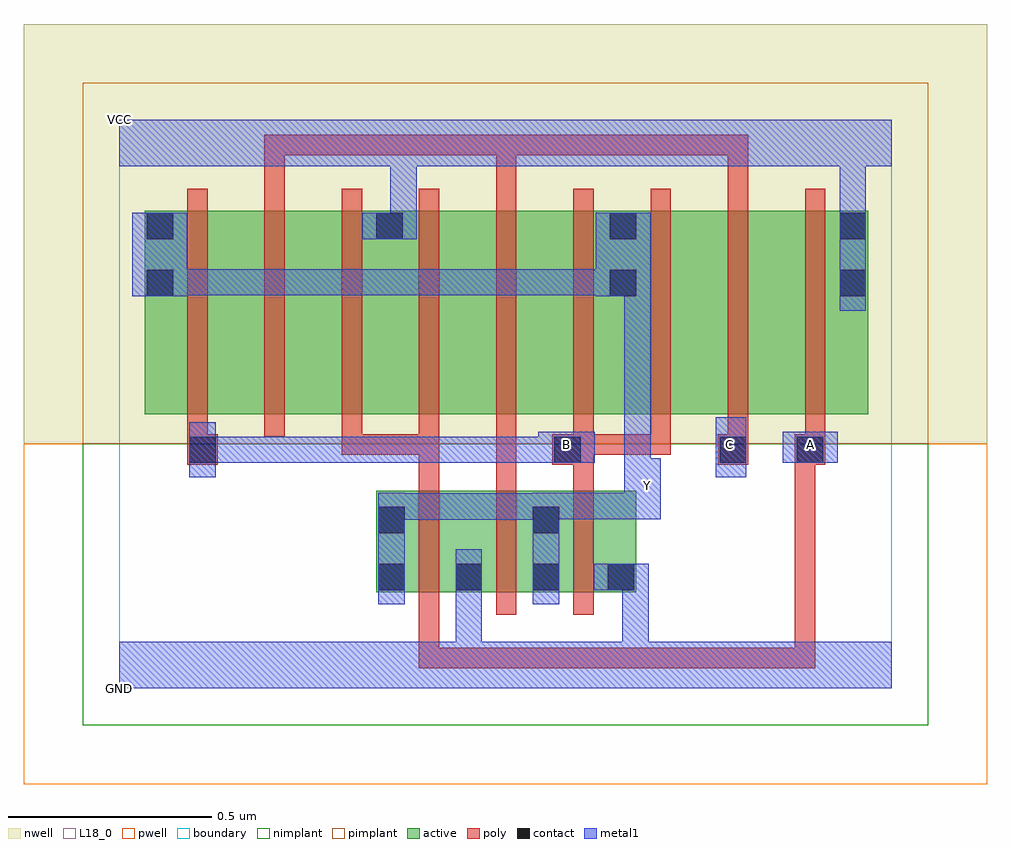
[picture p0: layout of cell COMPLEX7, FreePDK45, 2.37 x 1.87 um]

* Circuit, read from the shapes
.subckt COMPLEX7 A B C GND VCC Y
M1 GND A Y VSUBS nfet w=0.25u l=0.05u
M2 Y C GND VSUBS nfet w=0.25u l=0.05u
M3 GND B Y VSUBS nfet w=0.25u l=0.05u
M4 n1 B Y n2 pfet w=0.5u l=0.05u
M5 n3 C n1 n2 pfet w=0.5u l=0.05u
M6 VCC A n3 n2 pfet w=0.5u l=0.05u
M7 n4 A VCC n2 pfet w=0.5u l=0.05u
M8 n5 C n4 n2 pfet w=0.5u l=0.05u
M9 Y B n5 n2 pfet w=0.5u l=0.05u
M10 n6 B Y n2 pfet w=0.5u l=0.05u
M11 n7 C n6 n2 pfet w=0.5u l=0.05u
M12 VCC A n7 n2 pfet w=0.5u l=0.05u
.ends

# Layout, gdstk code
import gdstk
lib = gdstk.Library(unit=1e-6, precision=1e-09)
def R(c, l, rs):  # rectangles x0, y0, x1, y1
    for r in rs: c.add(gdstk.rectangle(r[:2], r[2:], *l))
def A(c, l, x, y, w, h, nx, ny, dx, dy):  # array of equal rectangles
    R(c, l, [(x+i*dx, y+j*dy, x+i*dx+w, y+j*dy+h) for i in range(nx) for j in range(ny)])
active = (1, 0)
pwell = (2, 0)
nwell = (3, 0)
nimplant = (4, 0)
pimplant = (5, 0)
poly = (9, 0)
contact = (10, 0)
metal1 = (11, 0)
L18_0 = (18, 0)
boundary = (235, 0)

complex7 = lib.new_cell('COMPLEX7')
A(complex7, active, 0.287, 0.675, 0.19, 0.5, 3, 1, 0.57, 0)
R(complex7, active, [(0.632,0.237,0.707,0.487), (0.632,0.237,0.897,0.487), (0.822,0.237,1.087,0.487), (0.822,0.237,0.897,0.387), (1.012,0.237,1.272,0.487), (1.012,0.237,1.087,0.467), (1.197,0.237,1.272,0.487), (0.062,0.675,0.137,1.175), (0.062,0.675,0.287,1.175), (0.477,0.675,0.702,1.175), (0.627,0.675,0.702,1.175), (0.627,0.675,0.857,1.175), (1.047,0.675,1.277,1.175), (1.202,0.675,1.277,1.175), (1.202,0.675,1.427,1.175), (1.617,0.675,1.842,1.175), (1.767,0.675,1.842,1.175)])
R(complex7, pwell, [(-0.235,-0.235,2.135,0.602)])
R(complex7, nwell, [(-0.235,0.602,2.135,1.635)])
R(complex7, nimplant, [(-0.09,-0.09,1.99,0.602)])
R(complex7, pimplant, [(-0.09,0.602,1.99,1.49)])
A(complex7, poly, 0.737, 0.182, 0.05, 0.36, 3, 1, 0.19, 0)
A(complex7, poly, 1.117, 0.575, 0.05, 0.095, 4, 1, 0.19, 0)
A(complex7, poly, 0.167, 0.62, 0.05, 0.61, 9, 1, 0.19, 0)
A(complex7, poly, 0.357, 1.18, 0.05, 0.182, 3, 1, 0.57, 0)
R(complex7, poly, [(0.737,0.05,0.787,0.1), (0.737,0.05,0.787,0.1), (0.737,0.05,0.787,0.1), (0.737,0.05,0.787,0.232), (0.737,0.05,0.92,0.1), (0.87,0.05,0.92,0.1), (0.87,0.05,0.92,0.1), (0.87,0.05,0.92,0.1), (0.87,0.05,1.11,0.1), (1.06,0.05,1.11,0.1), (1.06,0.05,1.11,0.1), (1.06,0.05,1.11,0.1), (1.06,0.05,1.39,0.1), (1.34,0.05,1.39,0.1), (1.34,0.05,1.39,0.1), (1.34,0.05,1.39,0.1), (1.34,0.05,1.522,0.1), (1.472,0.05,1.522,0.1), (1.472,0.05,1.712,0.1), (1.662,0.05,1.712,0.6), (1.662,0.05,1.712,0.1), (1.662,0.05,1.712,0.1), (1.662,0.05,1.712,0.1), (1.662,0.05,1.712,0.1), (1.662,0.05,1.712,0.1), (1.662,0.05,1.712,0.1), (1.662,0.05,1.712,0.1), (0.737,0.492,0.787,0.625), (0.927,0.492,0.977,0.587), (1.117,0.492,1.167,0.6), (0.927,0.537,0.977,0.587), (0.927,0.537,0.977,0.67), (0.167,0.55,0.242,0.625), (1.065,0.55,1.167,0.625), (1.472,0.55,1.547,0.625), (1.662,0.55,1.737,0.625), (0.167,0.575,0.217,0.67), (0.547,0.575,0.597,0.67), (0.547,0.575,0.597,0.625), (0.547,0.575,0.597,0.625), (0.547,0.575,0.597,0.625), (0.547,0.575,0.787,0.625), (0.737,0.575,0.787,0.67), (0.737,0.575,0.787,0.625), (1.117,0.575,1.167,0.625), (1.117,0.575,1.167,0.625), (1.117,0.575,1.357,0.625), (1.307,0.575,1.357,0.625), (0.357,1.312,0.407,1.362), (0.357,1.312,0.407,1.362), (0.357,1.312,0.407,1.362), (0.357,1.312,0.597,1.362), (0.547,1.312,0.597,1.362), (0.547,1.312,0.597,1.362), (0.547,1.312,0.597,1.362), (0.547,1.312,0.73,1.362), (0.68,1.312,0.73,1.362), (0.68,1.312,0.73,1.362), (0.68,1.312,0.73,1.362), (0.68,1.312,0.977,1.362), (0.927,1.312,0.977,1.362), (0.927,1.312,0.977,1.362), (0.927,1.312,0.977,1.362), (0.927,1.312,1.225,1.362), (1.175,1.312,1.225,1.362), (1.175,1.312,1.225,1.362), (1.175,1.312,1.225,1.362), (1.175,1.312,1.39,1.362), (1.34,1.312,1.39,1.362), (1.34,1.312,1.39,1.362), (1.34,1.312,1.39,1.362), (1.34,1.312,1.547,1.362), (1.497,1.312,1.547,1.362)])
A(complex7, contact, 0.637, 0.242, 0.065, 0.065, 3, 1, 0.19, 0)
R(complex7, contact, [(1.202,0.242,1.267,0.307), (0.637,0.382,0.702,0.447), (1.017,0.382,1.082,0.447), (0.172,0.555,0.237,0.62), (1.07,0.555,1.135,0.62), (1.477,0.555,1.542,0.62), (1.667,0.555,1.732,0.62), (0.067,0.965,0.132,1.03), (1.207,0.965,1.272,1.03), (1.772,0.965,1.837,1.03), (0.067,1.105,0.132,1.17), (0.632,1.105,0.697,1.17), (1.207,1.105,1.272,1.17), (1.772,1.105,1.837,1.17)])
R(complex7, metal1, [(0,0,1.9,0.115), (0.827,0.05,0.892,0.115), (0.827,0.05,0.892,0.115), (0.827,0.05,0.892,0.272), (1.237,0.05,1.302,0.307), (0.637,0.207,0.702,0.482), (0.827,0.207,0.892,0.272), (0.827,0.207,0.892,0.272), (0.827,0.207,0.892,0.342), (1.017,0.207,1.082,0.482), (1.167,0.242,1.302,0.307), (1.237,0.242,1.302,0.307), (1.237,0.242,1.302,0.307), (1.237,0.242,1.302,0.307), (1.237,0.242,1.302,0.307), (0.637,0.415,0.702,0.48), (0.637,0.415,0.702,0.48), (0.637,0.415,0.945,0.48), (0.88,0.415,0.945,0.48), (0.88,0.415,0.945,0.48), (0.88,0.415,0.945,0.48), (0.88,0.415,1.082,0.48), (1.017,0.417,1.307,0.482), (1.242,0.417,1.307,0.482), (1.242,0.417,1.307,0.482), (1.242,0.417,1.307,0.482), (1.242,0.417,1.307,0.482), (1.242,0.417,1.332,0.567), (1.242,0.502,1.307,1.03), (0.172,0.52,0.237,0.655), (1.467,0.52,1.542,0.667), (0.172,0.555,0.375,0.62), (0.31,0.555,0.375,0.62), (0.31,0.555,0.375,0.62), (0.31,0.555,0.375,0.62), (0.31,0.555,0.512,0.62), (0.447,0.555,0.512,0.62), (0.447,0.555,0.512,0.62), (0.447,0.555,0.512,0.62), (0.447,0.555,0.662,0.62), (0.597,0.555,0.662,0.62), (0.597,0.555,0.807,0.62), (0.742,0.555,0.807,0.62), (0.742,0.555,0.84,0.62), (0.775,0.555,0.84,0.62), (0.775,0.555,0.957,0.62), (0.892,0.555,0.957,0.62), (0.892,0.555,1.095,0.62), (1.03,0.555,1.095,0.62), (1.03,0.555,1.095,0.62), (1.03,0.555,1.17,0.632), (1.632,0.555,1.767,0.632), (1.772,0.93,1.837,1.205), (0.032,0.965,0.167,1.17), (1.172,0.965,1.307,1.17), (0.102,0.967,0.167,1.032), (0.102,0.967,0.167,1.032), (0.102,0.967,0.375,1.032), (0.31,0.967,0.375,1.032), (0.31,0.967,0.375,1.032), (0.31,0.967,0.375,1.032), (0.31,0.967,0.525,1.032), (0.46,0.967,0.525,1.032), (0.46,0.967,0.525,1.032), (0.46,0.967,0.525,1.032), (0.46,0.967,0.662,1.032), (0.597,0.967,0.662,1.032), (0.597,0.967,0.807,1.032), (0.742,0.967,0.807,1.032), (0.742,0.967,0.945,1.032), (0.88,0.967,0.945,1.032), (0.88,0.967,0.945,1.032), (0.88,0.967,0.945,1.032), (0.88,0.967,1.095,1.032), (1.03,0.967,1.095,1.032), (1.03,0.967,1.095,1.032), (1.03,0.967,1.095,1.032), (1.03,0.967,1.237,1.032), (0.597,1.105,0.732,1.17), (0.667,1.105,0.732,1.17), (0.667,1.105,0.732,1.17), (0.667,1.105,0.732,1.35), (1.772,1.14,1.837,1.35), (0,1.285,1.9,1.4), (1.772,1.285,1.837,1.35), (1.772,1.285,1.837,1.35)])
R(complex7, L18_0, [(0,0,1.9,0.115), (0.827,0.05,0.892,0.115), (0.827,0.05,0.892,0.115), (0.827,0.05,0.892,0.272), (1.237,0.05,1.302,0.307), (0.637,0.207,0.702,0.482), (0.827,0.207,0.892,0.342), (0.827,0.207,0.892,0.272), (0.827,0.207,0.892,0.272), (1.017,0.207,1.082,0.482), (1.167,0.242,1.302,0.307), (1.237,0.242,1.302,0.307), (1.237,0.242,1.302,0.307), (1.237,0.242,1.302,0.307), (1.237,0.242,1.302,0.307), (0.637,0.415,0.702,0.48), (0.637,0.415,0.702,0.48), (0.637,0.415,0.945,0.48), (0.88,0.415,0.945,0.48), (0.88,0.415,0.945,0.48), (0.88,0.415,0.945,0.48), (0.88,0.415,1.082,0.48), (1.017,0.417,1.307,0.482), (1.242,0.417,1.307,0.482), (1.242,0.417,1.307,0.482), (1.242,0.417,1.307,0.482), (1.242,0.417,1.307,0.482), (1.242,0.417,1.332,0.567), (1.267,0.467,1.332,0.532), (1.242,0.502,1.307,1.03), (0.172,0.52,0.237,0.655), (1.467,0.52,1.542,0.667), (0.172,0.555,0.375,0.62), (0.31,0.555,0.375,0.62), (0.31,0.555,0.375,0.62), (0.31,0.555,0.375,0.62), (0.31,0.555,0.512,0.62), (0.447,0.555,0.512,0.62), (0.447,0.555,0.512,0.62), (0.447,0.555,0.512,0.62), (0.447,0.555,0.662,0.62), (0.597,0.555,0.662,0.62), (0.597,0.555,0.807,0.62), (0.742,0.555,0.807,0.62), (0.742,0.555,0.84,0.62), (0.775,0.555,0.84,0.62), (0.775,0.555,0.957,0.62), (0.892,0.555,0.957,0.62), (0.892,0.555,1.095,0.62), (1.03,0.555,1.095,0.62), (1.03,0.555,1.095,0.62), (1.03,0.555,1.17,0.632), (1.632,0.555,1.767,0.632), (1.067,0.567,1.132,0.632), (1.467,0.567,1.532,0.632), (1.667,0.567,1.732,0.632), (1.772,0.93,1.837,1.205), (0.032,0.965,0.167,1.17), (1.172,0.965,1.307,1.17), (0.102,0.967,0.167,1.032), (0.102,0.967,0.167,1.032), (0.102,0.967,0.375,1.032), (0.31,0.967,0.375,1.032), (0.31,0.967,0.375,1.032), (0.31,0.967,0.375,1.032), (0.31,0.967,0.525,1.032), (0.46,0.967,0.525,1.032), (0.46,0.967,0.525,1.032), (0.46,0.967,0.525,1.032), (0.46,0.967,0.662,1.032), (0.597,0.967,0.662,1.032), (0.597,0.967,0.807,1.032), (0.742,0.967,0.807,1.032), (0.742,0.967,0.945,1.032), (0.88,0.967,0.945,1.032), (0.88,0.967,0.945,1.032), (0.88,0.967,0.945,1.032), (0.88,0.967,1.095,1.032), (1.03,0.967,1.095,1.032), (1.03,0.967,1.095,1.032), (1.03,0.967,1.095,1.032), (1.03,0.967,1.237,1.032), (0.597,1.105,0.732,1.17), (0.667,1.105,0.732,1.17), (0.667,1.105,0.732,1.17), (0.667,1.105,0.732,1.35), (1.772,1.14,1.837,1.35), (0,1.285,1.9,1.4), (1.772,1.285,1.837,1.35), (1.772,1.285,1.837,1.35)])
R(complex7, boundary, [(0,0,1.9,1.4)])
complex7.add(gdstk.Label('A', (1.7,0.6), layer=11, texttype=0))
complex7.add(gdstk.Label('B', (1.1,0.6), layer=11, texttype=0))
complex7.add(gdstk.Label('C', (1.5,0.6), layer=11, texttype=0))
complex7.add(gdstk.Label('Y', (1.3,0.5), layer=11, texttype=0))
complex7.add(gdstk.Label('VCC', (0,1.4), layer=11, texttype=0))
complex7.add(gdstk.Label('GND', (0,0), layer=11, texttype=0))

lib.write_gds('COMPLEX7.gds')
